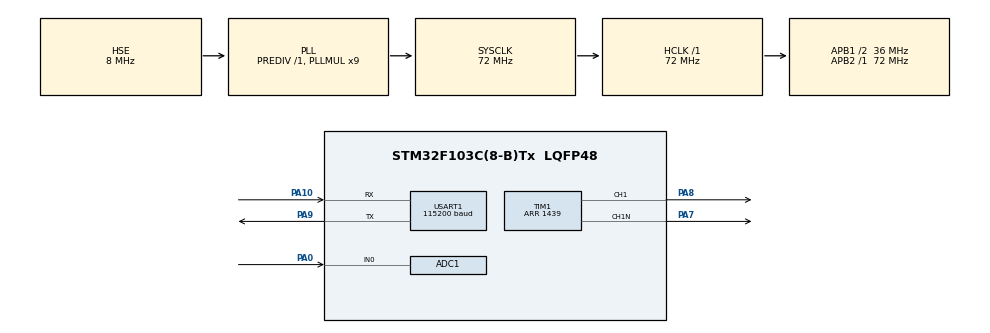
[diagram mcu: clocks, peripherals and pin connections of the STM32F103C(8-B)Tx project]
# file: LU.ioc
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ADC1.Channel-0\#ChannelRegularConversion=ADC_CHANNEL_0
ADC1.ContinuousConvMode=ENABLE
ADC1.NbrOfConversionFlag=1
ADC1.Rank-0\#ChannelRegularConversion=1
ADC1.SamplingTime-0\#ChannelRegularConversion=ADC_SAMPLETIME_1CYCLE_5
ADC1.master=1
Mcu.Family=STM32F1
Mcu.Name=STM32F103C(8-B)Tx
Mcu.Package=LQFP48
NVIC.PriorityGroup=NVIC_PRIORITYGROUP_4
NVIC.TIM1_UP_IRQn=true\:0\:0\:false\:false\:true\:true\:true\:true
NVIC.TIM2_IRQn=true\:0\:0\:false\:false\:true\:true\:true\:true
NVIC.USART1_IRQn=true\:0\:0\:false\:false\:true\:true\:true\:true
PA0-WKUP.Signal=ADCx_IN0
PA10.Mode=Asynchronous
PA10.Signal=USART1_RX
PA7.Mode=PWM Generation1 CH1 CH1N
PA7.Signal=TIM1_CH1N
PA8.Signal=S_TIM1_CH1
PA9.Mode=Asynchronous
PA9.Signal=USART1_TX
PD0-OSC_IN.Mode=HSE-External-Oscillator
PD0-OSC_IN.Signal=RCC_OSC_IN
PD1-OSC_OUT.Mode=HSE-External-Oscillator
PD1-OSC_OUT.Signal=RCC_OSC_OUT
ProjectManager.HeapSize=0x200
ProjectManager.StackSize=0x400
ProjectManager.TargetToolchain=STM32CubeIDE
RCC.ADCPresc=RCC_ADCPCLK2_DIV6
RCC.AHBFreq_Value=72000000
RCC.APB1CLKDivider=RCC_HCLK_DIV2
RCC.APB1Freq_Value=36000000
RCC.APB1TimFreq_Value=72000000
RCC.APB2Freq_Value=72000000
RCC.APB2TimFreq_Value=72000000
RCC.HCLKFreq_Value=72000000
RCC.PLLMUL=RCC_PLL_MUL9
RCC.PLLSourceVirtual=RCC_PLLSOURCE_HSE
RCC.SYSCLKFreq_VALUE=72000000
RCC.SYSCLKSource=RCC_SYSCLKSOURCE_PLLCLK
RCC.USBFreq_Value=72000000
SH.ADCx_IN0.0=ADC1_IN0,IN0
SH.S_TIM1_CH1.0=TIM1_CH1,PWM Generation1 CH1 CH1N
TIM1.Channel-PWM\ Generation1\ CH1\ CH1N=TIM_CHANNEL_1
TIM1.DeadTime=120
TIM1.Period=1439
TIM1.Pulse-PWM\ Generation1\ CH1\ CH1N=0
TIM2.Channel-Output\ Compare1\ No\ Output=TIM_CHANNEL_1
TIM2.Period=5000
TIM2.Prescaler=0
TIM2.Pulse-Output\ Compare1\ No\ Output=2500
USART1.BaudRate=115200
USART1.Mode=MODE_RX
USART1.VirtualMode=VM_ASYNC
VP_TIM1_VS_ClockSourceINT.Mode=Internal
VP_TIM2_VS_ClockSourceINT.Mode=Internal
VP_TIM2_VS_no_output1.Mode=Output Compare1 No Output
board=custom

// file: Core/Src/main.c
/* USER CODE BEGIN Header */
/**
  ******************************************************************************
  * @file           : main.c
  * @brief          : Main program body
  ******************************************************************************
  * @attention
  *
  * Copyright (c) 2024 STMicroelectronics.
  * All rights reserved.
  *
  * This software is licensed under terms that can be found in the LICENSE file
  * in the root directory of this software component.
  * If no LICENSE file comes with this software, it is provided AS-IS.
  *
  ******************************************************************************
  */
/* USER CODE END Header */
#include "main.h"

/* USER CODE BEGIN Includes */
#include <stdlib.h>
#include <string.h>
#include <stdio.h>
/* USER CODE END Includes */

ADC_HandleTypeDef hadc1;

TIM_HandleTypeDef htim1;
TIM_HandleTypeDef htim2;

UART_HandleTypeDef huart1;

/* USER CODE BEGIN PV */
uint16_t value1;
uint16_t value2;
char con_sig[10];
int currentma, currPWM;
int targetCurrentma = 0;
#define txBuff_size 10
char txBuffer[txBuff_size] = "Hello";
#define rxBuff_size 10
/* USER CODE END PV */

void SystemClock_Config(void);
static void MX_GPIO_Init(void);
static void MX_ADC1_Init(void);
static void MX_TIM1_Init(void);
static void MX_USART1_UART_Init(void);
static void MX_TIM2_Init(void);

/* USER CODE BEGIN 0 */

int _write(int file, char *ptr, int len)
{
	int i=0;
	for(i=0 ; i<len ; i++)
		ITM_SendChar((*ptr++));
	return len;
}

/* USER CODE END 0 */

int main(void)
{

  /* MCU Configuration--------------------------------------------------------*/

  /* Reset of all peripherals, Initializes the Flash interface and the Systick. */
  HAL_Init();

  /* Configure the system clock */
  SystemClock_Config();

  /* Initialize all configured peripherals */
  MX_GPIO_Init();
  MX_ADC1_Init();
  MX_TIM1_Init();
  MX_USART1_UART_Init();
  MX_TIM2_Init();
  /* USER CODE BEGIN 2 */
HAL_ADC_Start(&hadc1);
HAL_TIMEx_PWMN_Start_IT(&htim1, TIM_CHANNEL_1);
HAL_TIM_PWM_Start_IT(&htim1, TIM_CHANNEL_1);
HAL_TIM_PWM_Start_IT(&htim2, TIM_CHANNEL_1);
targetCurrentma = 0;
  /* USER CODE END 2 */

  /* Infinite loop */
  while (1)
  {

    /* USER CODE BEGIN 3 */
//	  sprintf(txBuffer,"%d\n",number);
	  //HAL_Delay(50);
	  //HAL_UART_Transmit(&huart1, (uint8_t*)txBuffer,  strlen(txBuffer),500);
	  if(HAL_UART_Receive(&huart1,con_sig,10,10) != HAL_OK) {
		  HAL_GPIO_TogglePin(GPIOC, GPIO_PIN_13);
		  //HAL_Delay(1000);
	  }
	  //HAL_Delay(100);
	 // targetCurrentma = (atof(con_sig))*1000;

  }
  /* USER CODE END 3 */
}

void SystemClock_Config(void)
{
  RCC_OscInitTypeDef RCC_OscInitStruct = {0};
  RCC_ClkInitTypeDef RCC_ClkInitStruct = {0};
  RCC_PeriphCLKInitTypeDef PeriphClkInit = {0};

  /** Initializes the RCC Oscillators according to the specified parameters
  * in the RCC_OscInitTypeDef structure.
  */
  RCC_OscInitStruct.OscillatorType = RCC_OSCILLATORTYPE_HSE;
  RCC_OscInitStruct.HSEState = RCC_HSE_ON;
  RCC_OscInitStruct.HSEPredivValue = RCC_HSE_PREDIV_DIV1;
  RCC_OscInitStruct.HSIState = RCC_HSI_ON;
  RCC_OscInitStruct.PLL.PLLState = RCC_PLL_ON;
  RCC_OscInitStruct.PLL.PLLSource = RCC_PLLSOURCE_HSE;
  RCC_OscInitStruct.PLL.PLLMUL = RCC_PLL_MUL9;
  if (HAL_RCC_OscConfig(&RCC_OscInitStruct) != HAL_OK)
  {
    Error_Handler();
  }

  /** Initializes the CPU, AHB and APB buses clocks
  */
  RCC_ClkInitStruct.ClockType = RCC_CLOCKTYPE_HCLK|RCC_CLOCKTYPE_SYSCLK
                              |RCC_CLOCKTYPE_PCLK1|RCC_CLOCKTYPE_PCLK2;
  RCC_ClkInitStruct.SYSCLKSource = RCC_SYSCLKSOURCE_PLLCLK;
  RCC_ClkInitStruct.AHBCLKDivider = RCC_SYSCLK_DIV1;
  RCC_ClkInitStruct.APB1CLKDivider = RCC_HCLK_DIV2;
  RCC_ClkInitStruct.APB2CLKDivider = RCC_HCLK_DIV1;

  if (HAL_RCC_ClockConfig(&RCC_ClkInitStruct, FLASH_LATENCY_2) != HAL_OK)
  {
    Error_Handler();
  }
  PeriphClkInit.PeriphClockSelection = RCC_PERIPHCLK_ADC;
  PeriphClkInit.AdcClockSelection = RCC_ADCPCLK2_DIV6;
  if (HAL_RCCEx_PeriphCLKConfig(&PeriphClkInit) != HAL_OK)
  {
    Error_Handler();
  }
}

static void MX_ADC1_Init(void)
{

  ADC_ChannelConfTypeDef sConfig = {0};

  /** Common config
  */
  hadc1.Instance = ADC1;
  hadc1.Init.ScanConvMode = ADC_SCAN_DISABLE;
  hadc1.Init.ContinuousConvMode = ENABLE;
  hadc1.Init.DiscontinuousConvMode = DISABLE;
  hadc1.Init.ExternalTrigConv = ADC_SOFTWARE_START;
  hadc1.Init.DataAlign = ADC_DATAALIGN_RIGHT;
  hadc1.Init.NbrOfConversion = 1;
  if (HAL_ADC_Init(&hadc1) != HAL_OK)
  {
    Error_Handler();
  }

  /** Configure Regular Channel
  */
  sConfig.Channel = ADC_CHANNEL_0;
  sConfig.Rank = ADC_REGULAR_RANK_1;
  sConfig.SamplingTime = ADC_SAMPLETIME_1CYCLE_5;
  if (HAL_ADC_ConfigChannel(&hadc1, &sConfig) != HAL_OK)
  {
    Error_Handler();
  }

}

static void MX_TIM1_Init(void)
{

  TIM_ClockConfigTypeDef sClockSourceConfig = {0};
  TIM_MasterConfigTypeDef sMasterConfig = {0};
  TIM_OC_InitTypeDef sConfigOC = {0};
  TIM_BreakDeadTimeConfigTypeDef sBreakDeadTimeConfig = {0};

  htim1.Instance = TIM1;
  htim1.Init.Prescaler = 0;
  htim1.Init.CounterMode = TIM_COUNTERMODE_UP;
  htim1.Init.Period = 1439;
  htim1.Init.ClockDivision = TIM_CLOCKDIVISION_DIV1;
  htim1.Init.RepetitionCounter = 0;
  htim1.Init.AutoReloadPreload = TIM_AUTORELOAD_PRELOAD_DISABLE;
  if (HAL_TIM_Base_Init(&htim1) != HAL_OK)
  {
    Error_Handler();
  }
  sClockSourceConfig.ClockSource = TIM_CLOCKSOURCE_INTERNAL;
  if (HAL_TIM_ConfigClockSource(&htim1, &sClockSourceConfig) != HAL_OK)
  {
    Error_Handler();
  }
  if (HAL_TIM_PWM_Init(&htim1) != HAL_OK)
  {
    Error_Handler();
  }
  sMasterConfig.MasterOutputTrigger = TIM_TRGO_RESET;
  sMasterConfig.MasterSlaveMode = TIM_MASTERSLAVEMODE_DISABLE;
  if (HAL_TIMEx_MasterConfigSynchronization(&htim1, &sMasterConfig) != HAL_OK)
  {
    Error_Handler();
  }
  sConfigOC.OCMode = TIM_OCMODE_PWM1;
  sConfigOC.Pulse = 0;
  sConfigOC.OCPolarity = TIM_OCPOLARITY_HIGH;
  sConfigOC.OCNPolarity = TIM_OCNPOLARITY_HIGH;
  sConfigOC.OCFastMode = TIM_OCFAST_DISABLE;
  sConfigOC.OCIdleState = TIM_OCIDLESTATE_RESET;
  sConfigOC.OCNIdleState = TIM_OCNIDLESTATE_RESET;
  if (HAL_TIM_PWM_ConfigChannel(&htim1, &sConfigOC, TIM_CHANNEL_1) != HAL_OK)
  {
    Error_Handler();
  }
  sBreakDeadTimeConfig.OffStateRunMode = TIM_OSSR_DISABLE;
  sBreakDeadTimeConfig.OffStateIDLEMode = TIM_OSSI_DISABLE;
  sBreakDeadTimeConfig.LockLevel = TIM_LOCKLEVEL_OFF;
  sBreakDeadTimeConfig.DeadTime = 120;
  sBreakDeadTimeConfig.BreakState = TIM_BREAK_DISABLE;
  sBreakDeadTimeConfig.BreakPolarity = TIM_BREAKPOLARITY_HIGH;
  sBreakDeadTimeConfig.AutomaticOutput = TIM_AUTOMATICOUTPUT_DISABLE;
  if (HAL_TIMEx_ConfigBreakDeadTime(&htim1, &sBreakDeadTimeConfig) != HAL_OK)
  {
    Error_Handler();
  }
  HAL_TIM_MspPostInit(&htim1);

}

static void MX_TIM2_Init(void)
{

  TIM_ClockConfigTypeDef sClockSourceConfig = {0};
  TIM_MasterConfigTypeDef sMasterConfig = {0};
  TIM_OC_InitTypeDef sConfigOC = {0};

  htim2.Instance = TIM2;
  htim2.Init.Prescaler = 0;
  htim2.Init.CounterMode = TIM_COUNTERMODE_UP;
  htim2.Init.Period = 5000;
  htim2.Init.ClockDivision = TIM_CLOCKDIVISION_DIV1;
  htim2.Init.AutoReloadPreload = TIM_AUTORELOAD_PRELOAD_DISABLE;
  if (HAL_TIM_Base_Init(&htim2) != HAL_OK)
  {
    Error_Handler();
  }
  sClockSourceConfig.ClockSource = TIM_CLOCKSOURCE_INTERNAL;
  if (HAL_TIM_ConfigClockSource(&htim2, &sClockSourceConfig) != HAL_OK)
  {
    Error_Handler();
  }
  if (HAL_TIM_OC_Init(&htim2) != HAL_OK)
  {
    Error_Handler();
  }
  sMasterConfig.MasterOutputTrigger = TIM_TRGO_RESET;
  sMasterConfig.MasterSlaveMode = TIM_MASTERSLAVEMODE_DISABLE;
  if (HAL_TIMEx_MasterConfigSynchronization(&htim2, &sMasterConfig) != HAL_OK)
  {
    Error_Handler();
  }
  sConfigOC.OCMode = TIM_OCMODE_TIMING;
  sConfigOC.Pulse = 2500;
  sConfigOC.OCPolarity = TIM_OCPOLARITY_HIGH;
  sConfigOC.OCFastMode = TIM_OCFAST_DISABLE;
  if (HAL_TIM_OC_ConfigChannel(&htim2, &sConfigOC, TIM_CHANNEL_1) != HAL_OK)
  {
    Error_Handler();
  }

}

static void MX_USART1_UART_Init(void)
{

  huart1.Instance = USART1;
  huart1.Init.BaudRate = 115200;
  huart1.Init.WordLength = UART_WORDLENGTH_8B;
  huart1.Init.StopBits = UART_STOPBITS_1;
  huart1.Init.Parity = UART_PARITY_NONE;
  huart1.Init.Mode = UART_MODE_RX;
  huart1.Init.HwFlowCtl = UART_HWCONTROL_NONE;
  huart1.Init.OverSampling = UART_OVERSAMPLING_16;
  if (HAL_UART_Init(&huart1) != HAL_OK)
  {
    Error_Handler();
  }

}

static void MX_GPIO_Init(void)
{

  /* GPIO Ports Clock Enable */
  __HAL_RCC_GPIOD_CLK_ENABLE();
  __HAL_RCC_GPIOA_CLK_ENABLE();

}

void Error_Handler(void)
{
  __disable_irq();
  while (1)
  {
  }
}
